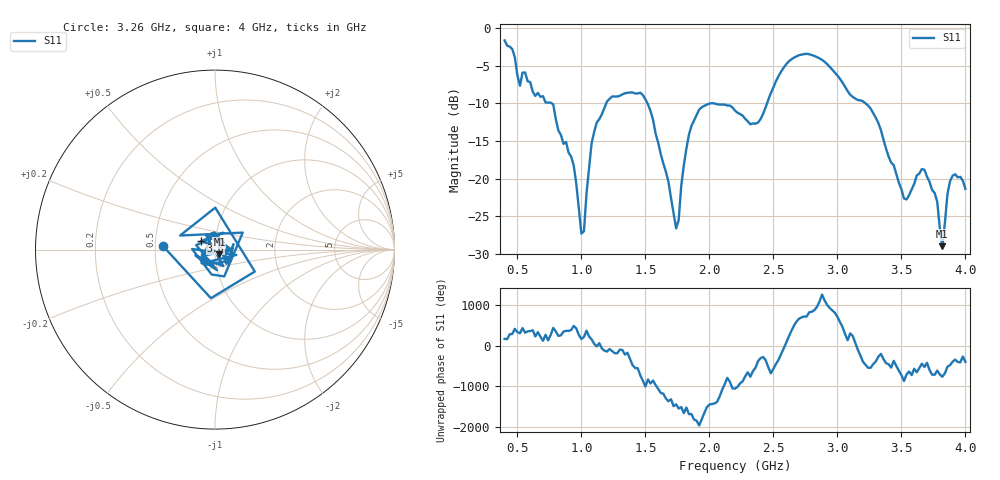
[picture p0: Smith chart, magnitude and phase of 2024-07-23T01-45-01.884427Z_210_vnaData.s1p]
!Created with skrf (http://scikit-rf.org).
# Hz S RI R 50.0
!freq ReS11 ImS11
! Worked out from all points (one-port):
!   181 points, 400 MHz to 4 GHz, reference 50 ohm
!   lowest |S11| = -29.0 dB at 3.82 GHz (marker M1), VSWR 1.07, Z = 52.4 - j2.71 ohm
!   |S11| at or under -10 dB: 766.6 MHz to 1.194 GHz (427.8 MHz wide, 43.6 % of centre); 1.516 GHz to 2.015 GHz (499 MHz wide, 28.3 % of centre); 3.219 GHz to end of sweep (the widest 3 of 4)
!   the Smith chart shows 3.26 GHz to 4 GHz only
!   S11 on the Smith chart (normalised r, x): 3.26 GHz: 0.55, +0.02; 3.6 GHz: 0.85, +0.08; 4 GHz: 1.14, -0.12
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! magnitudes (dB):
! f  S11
! 400 MHz  -1.7
! 520 MHz  -7.7
! 780 MHz  -10.1
! 860 MHz  -15.4
! 940 MHz  -18.3
! 1 GHz  -27.3
! 1.02 GHz  -27.0
! 1.08 GHz  -15.3
! 1.12 GHz  -12.5
! 1.3 GHz  -9.0
! 1.52 GHz  -10.1
! 1.74 GHz  -26.6
! 1.76 GHz  -25.5
! 1.84 GHz  -14.2
! 1.92 GHz  -10.8
! 2.2 GHz  -11.0
! 2.38 GHz  -12.6
! 2.66 GHz  -3.9
! 2.88 GHz  -4.2
! 3.1 GHz  -8.9
! 3.26 GHz  -10.7
! 3.56 GHz  -22.2
! 3.6 GHz  -20.7
! 3.68 GHz  -18.8
! 3.78 GHz  -23.1
! 3.82 GHz  -29.0
! 3.88 GHz  -20.4
! 4 GHz  -21.4
